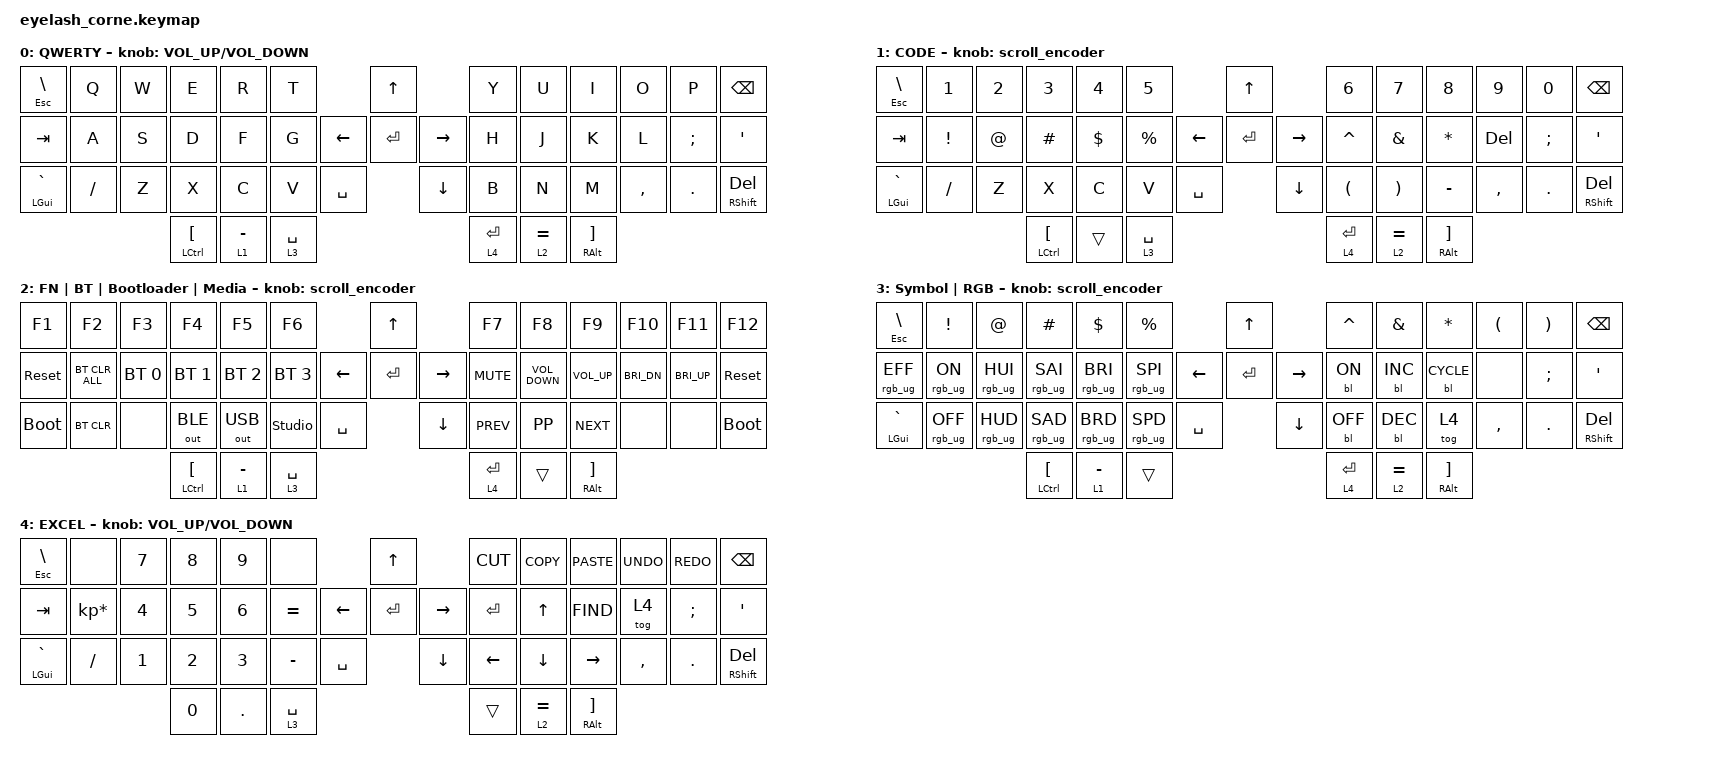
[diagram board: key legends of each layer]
#define ZMK_POINTING_DEFAULT_MOVE_VAL 1200  // 600
#define ZMK_POINTING_DEFAULT_SCRL_VAL 25   // 10

#include <input/processors.dtsi>
#include <zephyr/dt-bindings/input/input-event-codes.h>
#include <behaviors.dtsi>
#include <dt-bindings/zmk/bt.h>
#include <dt-bindings/zmk/ext_power.h>
#include <dt-bindings/zmk/keys.h>
#include <dt-bindings/zmk/outputs.h>
#include <dt-bindings/zmk/pointing.h>
#include <dt-bindings/zmk/rgb.h>
#include <dt-bindings/zmk/backlight.h>

&mmv_input_listener { input-processors = <&zip_xy_scaler 2 1>; };

&msc_input_listener { input-processors = <&zip_scroll_scaler 2 1>; };

&msc {
    acceleration-exponent = <1>;      // 0
    time-to-max-speed-ms = <100>;       // 300
    delay-ms = <0>;                   // 0
};

&mmv {
    time-to-max-speed-ms = <500>;
    acceleration-exponent = <1>;
    trigger-period-ms = <16>;
};


/ {
    behaviors {
        td0: td0 {
            compatible = "zmk,behavior-tap-dance";
            display-name = "Shift/Caps Lock Tap Dance";
            #binding-cells = <0>;
            bindings = <&kp LEFT_SHIFT>, <&kp CAPS>;
        };
    };

    rgb_encoder: rgb_encoder {
        compatible = "zmk,behavior-sensor-rotate";
        #sensor-binding-cells = <0>;
        bindings = <&rgb_ug RGB_BRI>, <&rgb_ug RGB_BRD>;
    };

    scroll_encoder: scroll_encoder {
        compatible = "zmk,behavior-sensor-rotate";
        #sensor-binding-cells = <0>;
        bindings = <&msc SCRL_DOWN>, <&msc SCRL_UP>;
        tap-ms = <100>;
    };

    keymap {
        compatible = "zmk,keymap";

        default_layer {
            display-name = "QWERTY";
            bindings = <
&mt ESC BSLH    &kp Q     &kp W    &kp E           &kp R        &kp T                                  &kp UP                &kp Y        &kp U        &kp I          &kp O      &kp P    &kp BSPC
&kp TAB         &kp A     &kp S    &kp D           &kp F        &kp G                        &kp LEFT  &kp ENTER  &kp RIGHT  &kp H        &kp J        &kp K          &kp L      &kp SEMI &kp SQT
&mt LGUI GRAVE  &kp FSLH  &kp Z    &kp X           &kp C        &kp V        &kp SPACE                 &kp DOWN              &kp B        &kp N        &kp M          &kp COMMA  &kp DOT  &mt RIGHT_SHIFT DELETE
                                   &mt LCTRL LBKT  &lt 1 MINUS  &lt 3 SPACE                                                  &lt 4 ENTER  &lt 2 EQUAL  &mt RALT RBKT
            >;
            sensor-bindings = <&inc_dec_kp C_VOLUME_UP C_VOLUME_DOWN>;
        };

        lower_layer {
            display-name = "CODE";
            bindings = <
&mt ESC BSLH    &kp N1    &kp N2   &kp N3          &kp N4    &kp N5                                 &kp UP                &kp N6       &kp N7       &kp N8         &kp N9     &kp N0    &kp BSPC
&kp TAB         &kp EXCL  &kp AT   &kp HASH        &kp DLLR  &kp PRCNT                    &kp LEFT  &kp ENTER  &kp RIGHT  &kp CARET    &kp AMPS     &kp ASTRK      &kp DEL    &kp SEMI  &kp SQT
&mt LGUI GRAVE  &kp FSLH  &kp Z    &kp X           &kp C     &kp V        &kp SPACE                 &kp DOWN              &kp LPAR     &kp RPAR     &kp MINUS      &kp COMMA  &kp DOT   &mt RIGHT_SHIFT DELETE
                                   &mt LCTRL LBKT  &trans    &lt 3 SPACE                                                  &lt 4 ENTER  &lt 2 EQUAL  &mt RALT RBKT
             >;
            sensor-bindings = <&scroll_encoder>;
        };

        raise_layer {
            display-name = "FN | BT | Bootloader | Media";
            bindings = <
&kp F1       &kp F2          &kp F3        &kp F4          &kp F5        &kp F6                                    &kp UP                &kp F7       &kp F8             &kp F9           &kp F10       &kp F11       &kp F12
&sys_reset   &bt BT_CLR_ALL  &bt BT_SEL 0  &bt BT_SEL 1    &bt BT_SEL 2  &bt BT_SEL 3                    &kp LEFT  &kp ENTER  &kp RIGHT  &kp C_MUTE   &kp C_VOLUME_DOWN  &kp C_VOLUME_UP  &kp C_BRI_DN  &kp C_BRI_UP  &sys_reset
&bootloader  &bt BT_CLR      &none         &out OUT_BLE    &out OUT_USB  &studio_unlock  &kp SPACE                 &kp DOWN              &kp K_PREV   &kp K_PP           &kp K_NEXT       &none         &none         &bootloader
                                           &mt LCTRL LBKT  &lt 1 MINUS   &lt 3 SPACE                                                     &lt 4 ENTER  &trans             &mt RALT RBKT
            >;
            sensor-bindings = <&scroll_encoder>;
        };

        layer_3 {
            display-name = "Symbol | RGB";
            bindings = <
&mt ESC BSLH    &kp EXCL         &kp AT           &kp HASH         &kp DLLR         &kp PRCNT                                  &kp UP                &kp CARET    &kp AMPS     &kp ASTRK      &kp LPAR   &kp RPAR  &kp BSPC
&rgb_ug RGB_EFF &rgb_ug RGB_ON   &rgb_ug RGB_HUI  &rgb_ug RGB_SAI  &rgb_ug RGB_BRI  &rgb_ug RGB_SPI                  &kp LEFT  &kp ENTER  &kp RIGHT  &bl BL_ON    &bl BL_INC   &bl BL_CYCLE   &none      &kp SEMI  &kp SQT
&mt LGUI GRAVE  &rgb_ug RGB_OFF  &rgb_ug RGB_HUD  &rgb_ug RGB_SAD  &rgb_ug RGB_BRD  &rgb_ug RGB_SPD  &kp SPACE                 &kp DOWN              &bl BL_OFF   &bl BL_DEC   &tog 4          &kp COMMA  &kp DOT   &mt RIGHT_SHIFT DELETE
                                                  &mt LCTRL LBKT   &lt 1 MINUS      &trans                                                           &lt 4 ENTER  &lt 2 EQUAL  &mt RALT RBKT
             >;
            sensor-bindings = <&scroll_encoder>;
        };

        layer_4 {
            display-name = "EXCEL";
            bindings = <
&mt ESC BSLH    &none            &kp N7   &kp N8   &kp N9   &none                                  &kp UP                &kp K_CUT  &kp K_COPY   &kp K_PASTE    &kp K_UNDO  &kp K_REDO  &kp BSPC
&kp TAB         &kp KP_MULTIPLY  &kp N4   &kp N5   &kp N6   &kp EQUAL                    &kp LEFT  &kp ENTER  &kp RIGHT  &kp ENTER  &kp UP       &kp K_FIND     &tog 4       &kp SEMI    &kp SQT
&mt LGUI GRAVE  &kp FSLH         &kp N1   &kp N2   &kp N3   &kp MINUS    &kp SPACE                 &kp DOWN              &kp LEFT   &kp DOWN     &kp RIGHT      &kp COMMA   &kp DOT     &mt RIGHT_SHIFT DELETE
                                          &kp N0   &kp DOT  &lt 3 SPACE                                                  &trans     &lt 2 EQUAL  &mt RALT RBKT
            >;
            sensor-bindings = <&inc_dec_kp C_VOLUME_UP C_VOLUME_DOWN>;
        };
    };
};
